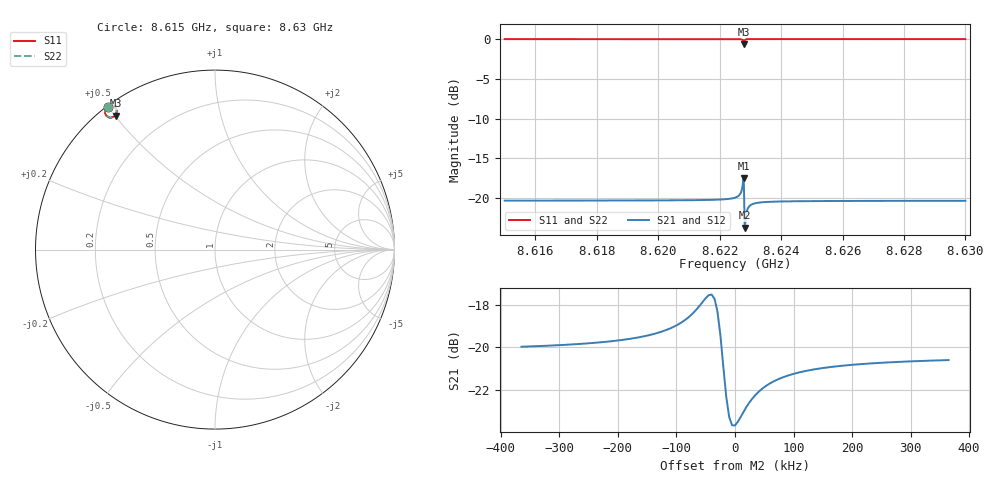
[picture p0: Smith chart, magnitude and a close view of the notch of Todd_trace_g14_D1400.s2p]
! Sonnet Data File
! From: emgraph Version : 16.52
! From Project: 171114transmon_trace_brg
! Data is De-embedded
! Data File Written: 11/14/2017 19:58:17
!< HDATE 11/14/2017 18:03:22
!< MDATE 11/14/2017 18:03:22
!< PARAMS
!< Lj = 15.24
!< Gap = 14.0
!< Width = 10.0
!< Airgap = 6.0
!< Pwidth = 2000.0
!< Dist = 1400.0
!< END PARAMS
# GHZ S MA R 34.87000
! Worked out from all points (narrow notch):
!   3597 points, 8.615 GHz to 8.63 GHz, reference 34.87 ohm
!   highest |S21| = -17.52 dB at 8.62278 GHz (marker M1); lowest = -23.7 dB at 8.62282 GHz (marker M2)
!   notch at M2: 3.4 dB deep, 61.1 kHz wide at half that depth
!   lowest |S11| = -0.6 dB at 8.62279 GHz (marker M3), VSWR 26.85, Z = 1.63 + j17.5 ohm
!   |S11| at or under -10 dB: nowhere
!   |S22| runs from -0.6 to 0.0 dB; largest |S21 - S12| = 1e-12
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8.615  0.9953 126.9  0.09657 36.9  0.09657 36.9  0.9953 126.9
!< P1 F=8.615 Eeff=(5.13377404 -5.6313e-5) Z0=(34.6595714 -9.1612e-5) R=0.0 C=0.0
!< P2 F=8.615 Eeff=(5.13377404 -5.6313e-5) Z0=(34.6595714 -9.1612e-5) R=0.0 C=0.0
8.6175  0.9953 126.9  0.09668 36.9  0.09668 36.9  0.9953 126.9
8.62  0.9953 126.9  0.09693 36.9  0.09693 36.9  0.9953 126.9
8.621875  0.9952 126.8  0.09788 36.8  0.09788 36.8  0.9952 126.8
8.6225  0.9946 126.6  0.1008 36.5  0.1008 36.5  0.9946 126.6
8.62263  0.9937 126.4  0.1041 36.0  0.1041 36.0  0.9937 126.4
8.622685  0.9923 126.2  0.1078 35.2  0.1078 35.2  0.9923 126.2
8.62271  0.9907 126.1  0.1109 34.4  0.1109 34.4  0.9907 126.0
8.62272  0.9897 126.0  0.1126 33.9  0.1126 33.9  0.9897 125.9
8.62278  0.9471 125.2  0.1331 15.5  0.1331 15.5  0.9475 125.2
8.62279  0.9282 126.6  0.1214 3.5  0.1214 3.5  0.9288 126.6
8.62282  0.9765 128.9  0.06541 19.7  0.06541 19.7  0.9767 128.8
8.622875  0.9935 127.8  0.0814 35.5  0.0814 35.5  0.9935 127.7
8.62289  0.9942 127.6  0.08359 36.0  0.08359 36.0  0.9942 127.6
8.622935  0.995 127.4  0.08757 36.7  0.08757 36.7  0.9951 127.4
8.62299  0.9954 127.3  0.09004 36.9  0.09004 36.9  0.9954 127.2
8.623075  0.9955 127.1  0.09198 37.0  0.09198 37.0  0.9955 127.1
8.62321  0.9955 127.1  0.09345 37.0  0.09345 37.0  0.9955 127.0
8.623745  0.9954 127.0  0.09518 36.9  0.09518 36.9  0.9954 126.9
8.625  0.9954 126.9  0.09596 36.9  0.09596 36.9  0.9954 126.9
8.6275  0.9953 126.9  0.0963 36.9  0.0963 36.9  0.9953 126.8
8.63  0.9953 126.9  0.09643 36.8  0.09643 36.8  0.9953 126.8
